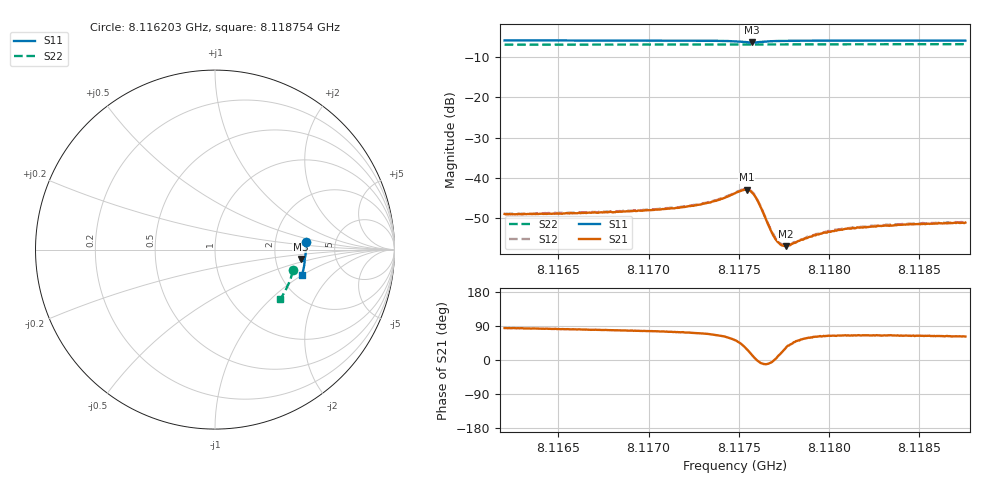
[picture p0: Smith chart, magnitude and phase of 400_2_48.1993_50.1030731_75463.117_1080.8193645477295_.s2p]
#  HZ  S  RI  R  50.00
! Rohde & Schwarz Vector Network Analyzer
! Rohde-Schwarz,ZNB20-2Port,1311601062101988,3.16
! Created: UTC 3/20/2024, 11:53:59 AM
! freq[Hz]  re:S11  im:S11  re:S21  im:S21  re:S12  im:S12  re:S22  im:S22
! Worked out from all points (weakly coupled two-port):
!   401 points, 8.116203 GHz to 8.118754 GHz, reference 50 ohm
!   highest |S21| = -42.93 dB at 8.117542 GHz (marker M1); lowest = -56.9 dB at 8.117759 GHz (marker M2)
!   lowest |S11| = -6.4 dB at 8.117574 GHz (marker M3), VSWR 2.84, Z = 139 - j19 ohm
!   |S11| at or under -10 dB: nowhere
!   |S22| runs from -7.0 to -6.8 dB; largest |S21 - S12| = 0.0002
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8.1162029e9  0.5052 0.0432  0.000352 0.00356  0.000383 0.00357  0.4343 -0.115
8.1166303e9  0.5064 0.0108  0.000611 0.00365  0.000674 0.00369  0.4268 -0.1436
8.1170576e9  0.505 -0.0224  0.00102 0.00393  0.00106 0.004  0.4175 -0.1719
8.1172873e9  0.5023 -0.042  0.00158 0.00442  0.00167 0.00449  0.4116 -0.187
8.1173829e9  0.499 -0.0512  0.00221 0.00482  0.00229 0.00486  0.409 -0.1931
8.1174786e9  0.4908 -0.0609  0.00395 0.0051  0.00408 0.00518  0.4059 -0.1993
8.1175169e9  0.484 -0.0622  0.0053 0.00457  0.00549 0.00461  0.4044 -0.2017
8.1175424e9  0.4789 -0.0599  0.00621 0.00352  0.00636 0.00355  0.4036 -0.203
8.1175743e9  0.4764 -0.0526  0.0064 0.00137  0.00655 0.00138  0.4026 -0.2047
8.1175934e9  0.4785 -0.0483  0.00574 0.000251  0.00587 0.000223  0.4024 -0.2056
8.1176062e9  0.481 -0.0465  0.0051 -0.000265  0.00519 -0.000341  0.4022 -0.2064
8.11767e9  0.4928 -0.0488  0.0024 -0.000353  0.00244 -0.000405  0.4009 -0.2102
8.1176955e9  0.4953 -0.0519  0.00186 -5.29e-06  0.00193 -2.77e-05  0.4002 -0.2122
8.1177146e9  0.4966 -0.0543  0.00159 0.000253  0.00163 0.000225  0.3996 -0.2132
8.1177274e9  0.4971 -0.0558  0.00146 0.000393  0.0015 0.000409  0.3994 -0.2143
8.1177593e9  0.4982 -0.0595  0.00122 0.000742  0.00125 0.000736  0.3983 -0.2162
8.1177784e9  0.4984 -0.0617  0.00114 0.000908  0.00117 0.000935  0.3977 -0.2175
8.117906e9  0.4986 -0.0742  0.000965 0.00162  0.000987 0.00162  0.3937 -0.2257
8.1179825e9  0.498 -0.0809  0.00093 0.00188  0.000994 0.00192  0.3914 -0.2305
8.1180973e9  0.4965 -0.0904  0.00102 0.00211  0.00101 0.00212  0.3873 -0.2375
8.1183333e9  0.4929 -0.1086  0.00107 0.00231  0.00117 0.00237  0.3791 -0.2517
8.1187543e9  0.4848 -0.1395  0.00131 0.00247  0.00136 0.0025  0.3629 -0.2766
